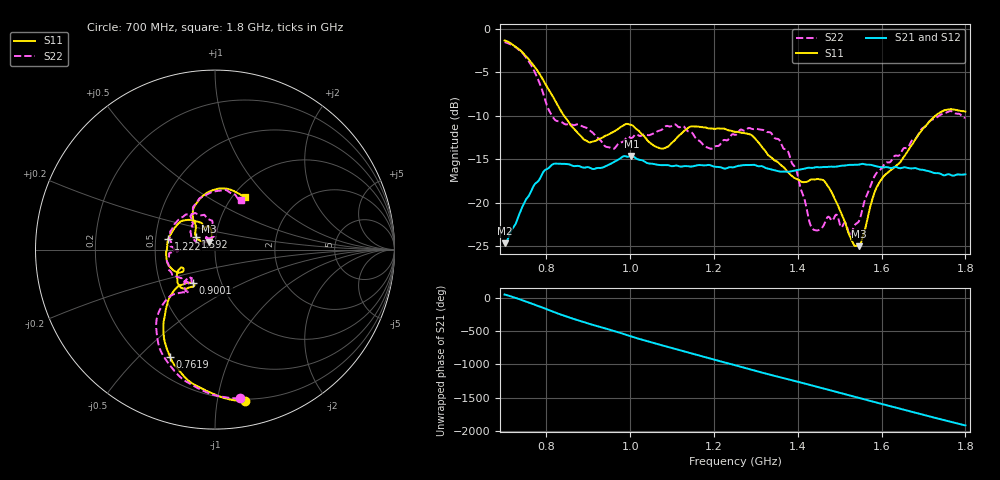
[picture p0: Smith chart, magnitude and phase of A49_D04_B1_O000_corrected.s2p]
! Created with skrf 1.9.0 (http://scikit-rf.org).
# Hz S RI R 50.0
!freq ReS11 ImS11 ReS21 ImS21 ReS12 ImS12 ReS22 ImS22
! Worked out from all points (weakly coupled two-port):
!   1601 points, 700 MHz to 1.8 GHz, reference 50 ohm
!   highest |S21| = -14.61 dB at 1.002 GHz (marker M1); lowest = -24.6 dB at 700.7 MHz (marker M2)
!   lowest |S11| = -25.0 dB at 1.546 GHz (marker M3), VSWR 1.12, Z = 46.6 + j4.21 ohm
!   |S11| at or under -10 dB: 842.1 MHz to 1.728 GHz (886 MHz wide, 68.9 % of centre)
!   |S22| runs from -23.8 to -1.5 dB; largest |S21 - S12| = 0.0034
!   S11 on the Smith chart (normalised r, x): 700 MHz: 0.19, -1.20; 761.9 MHz: 0.30, -0.62; 900.1 MHz: 0.73, -0.29; 1.222 GHz: 0.58, +0.07; 1.592 GHz: 0.80, +0.12; 1.8 GHz: 1.13, +0.75
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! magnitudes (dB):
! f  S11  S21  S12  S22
! 700 MHz  -1.3  -24.6  -24.4  -1.5
! 700.7 MHz  -1.3  -24.6  -24.3  -1.5
! 761.9 MHz  -3.8  -18.8  -18.8  -4.0
! 817.6 MHz  -8.0  -15.5  -15.6  -10.3
! 883.6 MHz  -12.4  -15.9  -15.8  -11.2
! 900.1 MHz  -13.0  -15.9  -15.9  -11.5
! 956.4 MHz  -11.9  -15.4  -15.4  -13.8
! 1.002 GHz  -11.0  -14.6  -14.7  -12.5
! 1.067 GHz  -13.7  -15.6  -15.6  -11.7
! 1.144 GHz  -11.2  -15.8  -15.8  -11.8
! 1.222 GHz  -11.5  -16.0  -16.1  -12.8
! 1.25 GHz  -11.8  -15.9  -15.8  -12.2
! 1.355 GHz  -15.5  -16.4  -16.3  -12.7
! 1.395 GHz  -17.2  -16.3  -16.3  -16.1
! 1.434 GHz  -17.3  -16.0  -15.9  -22.9
! 1.468 GHz  -17.8  -15.9  -15.9  -21.9
! 1.525 GHz  -23.9  -15.6  -15.6  -23.8
! 1.546 GHz  -25.0  -15.6  -15.6  -22.1
! 1.592 GHz  -17.9  -15.9  -15.8  -16.4
! 1.617 GHz  -16.4  -16.0  -15.9  -15.4
! 1.731 GHz  -9.9  -16.6  -16.6  -10.2
! 1.8 GHz  -9.5  -16.7  -16.7  -10.2
